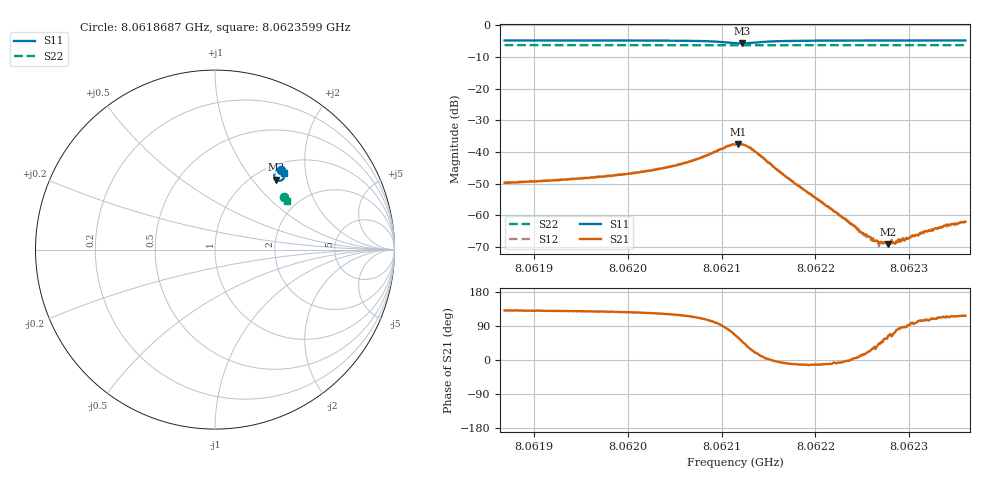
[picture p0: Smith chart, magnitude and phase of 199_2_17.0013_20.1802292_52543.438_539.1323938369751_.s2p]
#  HZ  S  RI  R  50.00
! Rohde & Schwarz Vector Network Analyzer
! Rohde-Schwarz,ZNB20-2Port,1311601062101988,3.16
! Created: UTC 3/20/2024, 11:00:59 PM
! freq[Hz]  re:S11  im:S11  re:S21  im:S21  re:S12  im:S12  re:S22  im:S22
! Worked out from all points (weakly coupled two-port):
!   401 points, 8.0618687 GHz to 8.0623599 GHz, reference 50 ohm
!   highest |S21| = -37.42 dB at 8.062118 GHz (marker M1); lowest = -69.1 dB at 8.0622777 GHz (marker M2)
!   lowest |S11| = -5.7 dB at 8.0621217 GHz (marker M3), VSWR 3.14, Z = 62.1 + j66.3 ohm
!   |S11| at or under -10 dB: nowhere
!   |S22| runs from -6.3 to -6.3 dB; largest |S21 - S12| = 0.00092
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8.06186871e9  0.368 0.4427  -0.00215 0.00248  -0.00196 0.00264  0.3872 0.2943
8.06195099e9  0.3743 0.4369  -0.0024 0.00299  -0.00229 0.00314  0.3901 0.2904
8.06199152e9  0.3778 0.4331  -0.00259 0.00351  -0.00245 0.00367  0.3916 0.2882
8.06203327e9  0.3822 0.4265  -0.00291 0.00457  -0.00266 0.00478  0.393 0.2859
8.06206889e9  0.3859 0.4157  -0.00298 0.00664  -0.00262 0.00689  0.3941 0.2837
8.06211433e9  0.3546 0.3833  0.00533 0.012  0.00606 0.0119  0.3936 0.2809
8.06211801e9  0.3463 0.3857  0.00713 0.0114  0.00784 0.0109  0.3937 0.2809
8.0621217e9  0.339 0.3906  0.00857 0.01  0.00926 0.0095  0.3934 0.2811
8.06213275e9  0.3302 0.4131  0.00984 0.0046  0.0103 0.00411  0.3937 0.2816
8.06216836e9  0.3549 0.4392  0.00407 -0.000617  0.00407 -0.000877  0.3963 0.2807
8.06219661e9  0.3658 0.4386  0.002 -0.00045  0.00198 -0.000558  0.3976 0.2793
8.06224082e9  0.3745 0.4352  0.000682 4.45e-05  0.000679 -1.63e-06  0.3993 0.2768
8.06225433e9  0.3764 0.4342  0.000476 0.00015  0.000448 9.48e-05  0.3999 0.2762
8.06226538e9  0.3778 0.4335  0.000327 0.000235  0.000303 0.000221  0.4002 0.2756
8.06227767e9  0.379 0.4326  0.00015 0.000315  0.000197 0.000317  0.4006 0.2751
8.06227889e9  0.3792 0.4324  0.00015 0.000326  0.000165 0.000318  0.4006 0.275
8.06228503e9  0.3797 0.4321  0.000105 0.000341  0.00014 0.00035  0.4008 0.2746
8.06229117e9  0.3804 0.4316  3.05e-05 0.000387  8.62e-05 0.000431  0.401 0.2743
8.06229731e9  0.3809 0.4312  2.16e-05 0.000441  1.17e-05 0.000463  0.4013 0.274
8.06231942e9  0.3829 0.4299  -0.000161 0.000535  -0.000129 0.000545  0.402 0.2729
8.06233907e9  0.3845 0.4286  -0.00026 0.000641  -0.000253 0.000672  0.4026 0.2719
8.06235995e9  0.3861 0.4273  -0.00036 0.000709  -0.000331 0.000748  0.4032 0.2708
